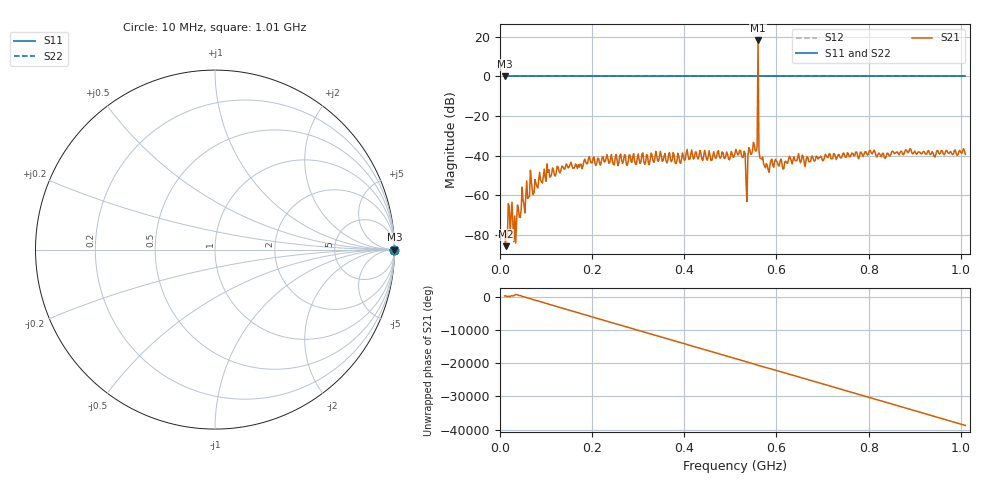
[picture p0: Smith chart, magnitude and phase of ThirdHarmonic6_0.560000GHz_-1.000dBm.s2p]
! 8/15/2025 5:51:45 PM
! C:\ANRITSUVNA\TEMP\TEMP.S2P
! CHANNEL.1
! TR.MEASUREMENT
! RAW.DATA
! RF.CORRECTION.OFF
! AVERAGING.OFF
! IF.BANDWIDTH: 5KHZ
! SWEEPTYPE:  FREQ.SWEEP(Linear)
! Reference Plane Port Info
! PORT:  PORT1  PORT2
! DISTANCE:  0  m  0  m
! TIME:  0  s  0  s
! PHASE.OFFSET:  0  deg.  0  deg.
! LOSS:  0  dB  0  dB
! REF.LOSS:  0  dB  0  dB
! REF.FREQ:  0  Hz  0  Hz
! Power Info
! POWER:  -20  dBm  -20  dBm
! EFF.POWER:  -20  dBm  -20  dBm
! SOURCE.ATTEN:  0  dB  0  dB
! TEST.ATTEN:  0  dB  0  dB
# GHZ S RI R 50.0
! FREQ.GHZ  S11RE  S11IM  S21RE  S21IM  S12RE  S12IM  S22RE  S22IM
!; PortSelection: Port_12
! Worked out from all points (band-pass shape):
!   501 points, 10 MHz to 1.01 GHz, reference 50 ohm
!   highest |S21| = 18.17 dB at 560 MHz (marker M1); lowest = -85.8 dB at 12 MHz (marker M2)
!   |S21| within 3 dB of the highest: 559.8885 MHz to 560.1078 MHz (219.3 kHz wide, 0.0392 % of centre)
!   lowest |S11| = 0.0 dB at 10 MHz (marker M3)
!   |S11| at or under -10 dB: nowhere
!   |S22| runs from 0.0 to 0.0 dB; largest |S21 - S12| = 9.1
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0.01  1 0  -9.62e-05 5.4e-06  1 0  1 0
0.012  1 0  -3.01e-05 -4.18e-05  1 0  1 0
0.022  1 0  0.00011 4.23e-05  1 0  1 0
0.032  1 0  3.69e-05 0.000296  1 0  1 0
0.066  1 0  -0.00124 0.00406  1 0  1 0
0.1  1 0  -0.000103 0.00224  1 0  1 0
0.178  1 0  -0.00441 -0.00142  1 0  1 0
0.344  1 0  0.00608 -0.00381  1 0  1 0
0.51  1 0  -0.00936 0.00699  1 0  1 0
0.528  1 0  -0.0055 0.00738  1 0  1 0
0.534  1 0  -0.00191 -0.000666  1 0  1 0
0.538  1 0  0.000994 0.00968  1 0  1 0
0.542  1 0  -0.000155 -0.0143  1 0  1 0
0.554  1 0  -0.0093 0.00925  1 0  1 0
0.556  1 0  0.00632 0.0115  1 0  1 0
0.56  1 0  -8.103 -0.021  1 0  1 0
0.564  1 0  0.00274 0.00827  1 0  1 0
0.566  1 0  0.00844 -0.000859  1 0  1 0
0.58  1 0  -0.00559 0.000773  1 0  1 0
0.678  1 0  -0.00809 -0.0055  1 0  1 0
0.844  1 0  0.00938 0.00377  1 0  1 0
1.01  1 0  -0.0105 0.00191  1 0  1 0
